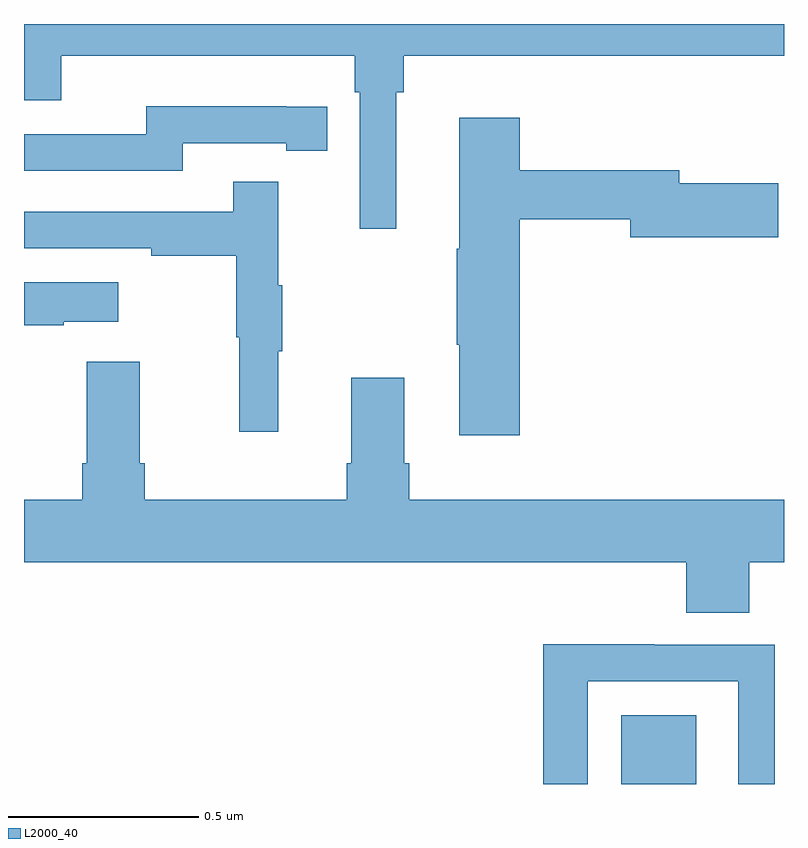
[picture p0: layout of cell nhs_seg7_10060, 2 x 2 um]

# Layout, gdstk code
import gdstk
lib = gdstk.Library(unit=1e-6, precision=1e-09)
def R(c, l, rs):  # rectangles x0, y0, x1, y1
    for r in rs: c.add(gdstk.rectangle(r[:2], r[2:], *l))
def P(c, l, *ps):  # polygons
    for p in ps: c.add(gdstk.Polygon(p, *l))
L2000_40 = (2000, 40)

nhs_seg7_10060 = lib.new_cell('nhs_seg7_10060')
R(nhs_seg7_10060, L2000_40, [(246.572,1032,246.769,1032.181)])
P(nhs_seg7_10060, L2000_40, [(245.98,1033.82),(245.999,1033.82),(245.999,1033.916),(247,1033.916),(247,1034),(245,1034),(245,1033.799),(245.098,1033.799),(245.098,1033.916),(245.87,1033.916),(245.87,1033.82),(245.883,1033.82),(245.883,1033.461),(245.98,1033.461)],
  [(245.418,1033.686),(245.69,1033.686),(245.69,1033.666),(245.798,1033.666),(245.798,1033.782),(245.69,1033.782),(245.69,1033.783),(245.322,1033.783),(245.322,1033.71),(245,1033.71),(245,1033.614),(245.418,1033.614)],
  [(246.305,1033.486),(246.596,1033.486),(246.596,1033.439),(246.985,1033.439),(246.985,1033.581),(246.724,1033.581),(246.724,1033.615),(246.305,1033.615),(246.305,1033.753),(246.146,1033.753),(246.146,1033.409),(246.139,1033.409),(246.139,1033.156),(246.146,1033.156),(246.146,1032.918),(246.305,1032.918)],
  [(245.669,1033.139),(245.68,1033.139),(245.68,1033.313),(245.669,1033.313),(245.669,1033.585),(245.551,1033.585),(245.551,1033.506),(245,1033.506),(245,1033.41),(245.335,1033.41),(245.335,1033.39),(245.559,1033.39),(245.559,1033.176),(245.566,1033.176),(245.566,1032.927),(245.669,1032.927)],
  [(245.105,1033.217),(245.248,1033.217),(245.248,1033.321),(245,1033.321),(245,1033.207),(245.105,1033.207)],
  [(246.908,1032.584),(247,1032.584),(247,1032.748),(246.014,1032.748),(246.014,1032.844),(246.001,1032.844),(246.001,1033.069),(245.861,1033.069),(245.861,1032.844),(245.849,1032.844),(245.849,1032.748),(245.318,1032.748),(245.318,1032.844),(245.305,1032.844),(245.305,1033.111),(245.165,1033.111),(245.165,1032.844),(245.153,1032.844),(245.153,1032.748),(245,1032.748),(245,1032.584),(246.743,1032.584),(246.743,1032.451),(246.908,1032.451)],
  [(246.483,1032.27),(246.879,1032.27),(246.879,1032),(246.975,1032),(246.975,1032.366),(246.659,1032.366),(246.659,1032.368),(246.367,1032.368),(246.367,1032),(246.483,1032)])

lib.write_gds('nhs_seg7_10060.gds')
